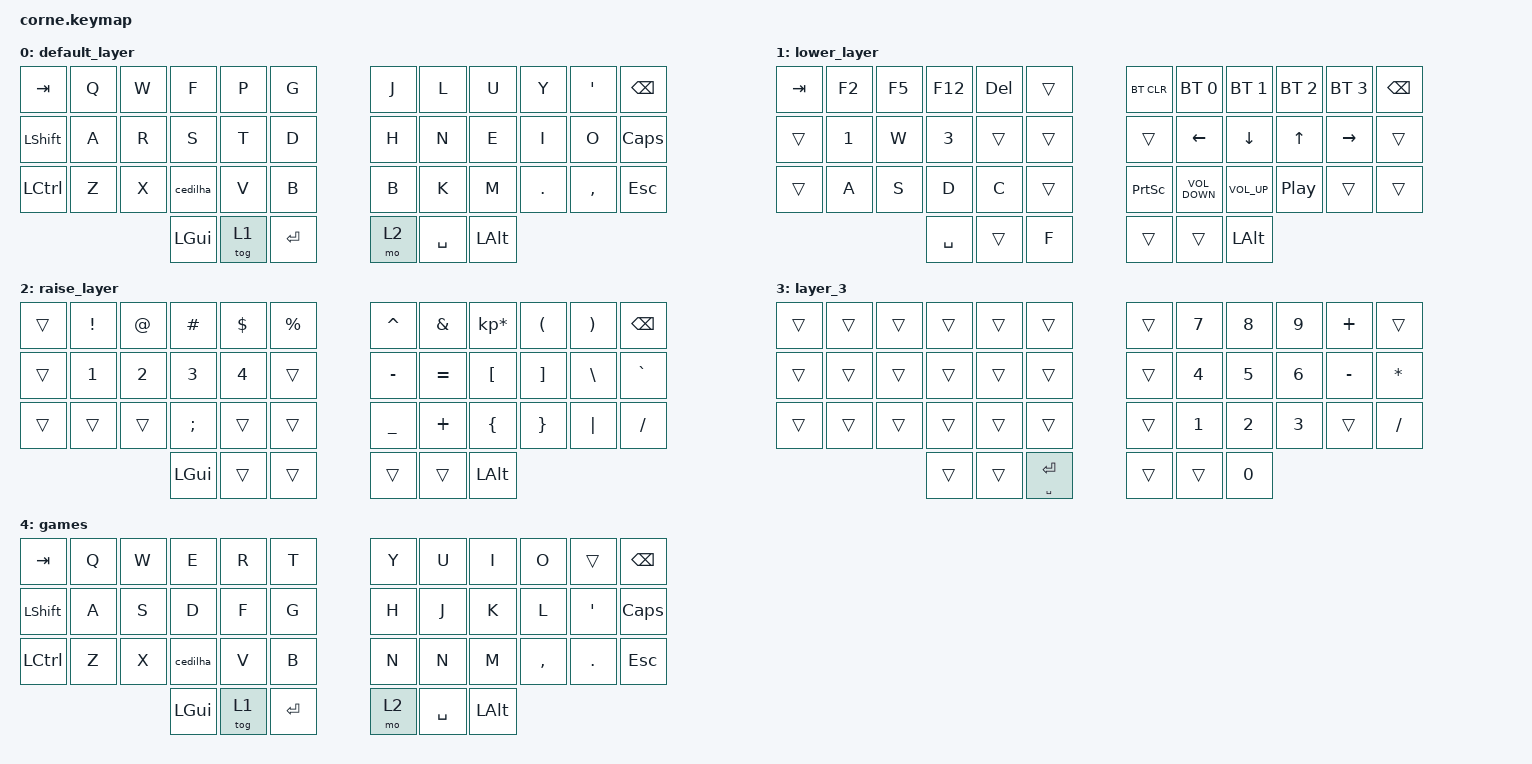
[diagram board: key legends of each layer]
/*
 * Copyright (c) 2020 The ZMK Contributors
 *
 * SPDX-License-Identifier: MIT
 */

#include <behaviors.dtsi>
#include <dt-bindings/zmk/bt.h>
#include <dt-bindings/zmk/keys.h>

&mt {
    tapping-term-ms = <210>;
    flavor = "tap-preferred";
};

/ {
    combos {
        compatible = "zmk,combos";

        accentE {
            bindings = <&macroE>;
            key-positions = <10 20>;
        };

        accentA {
            bindings = <&macroA>;
            key-positions = <13 10>;
        };

        accentI {
            bindings = <&macroI>;
            key-positions = <10 21>;
        };

        accentO {
            bindings = <&macroO>;
            key-positions = <10 22>;
        };

        accentU {
            bindings = <&macroU>;
            key-positions = <10 8>;
        };

        questionmarc {
            bindings = <&question>;
            key-positions = <41 2>;
        };

        slash {
            bindings = <&kp KP_DIVIDE>;
            key-positions = <41 1>;
        };

        greetings {
            bindings = <&greeting>;
            key-positions = <29 30>;
        };

        greetingEvening {
            bindings = <&greetingEvening>;
            key-positions = <29 31>;
        };

        layerThree {
            bindings = <&tog 3>;
            key-positions = <39 37>;
        };

        toggle_layer4 {
            bindings = <&tog 4>;
            key-positions = <35 23>;
        };
    };

    macros {
        macroE: new_macro {
            compatible = "zmk,behavior-macro";
            #binding-cells = <0>;
            bindings = <&kp LEFT_BRACKET &kp E>;
            label = "NEW_MACRO";
        };

        macroA: macroA {
            compatible = "zmk,behavior-macro";
            #binding-cells = <0>;
            bindings = <&kp LEFT_BRACKET &kp A>;
            label = "MACROA";
        };

        macroI: macroI {
            compatible = "zmk,behavior-macro";
            #binding-cells = <0>;
            bindings = <&kp LEFT_BRACKET &kp I>;
            label = "MACROI";
        };

        macroU: macroU {
            compatible = "zmk,behavior-macro";
            #binding-cells = <0>;
            bindings = <&kp LEFT_BRACKET &kp U>;
            label = "MACROU";
        };

        macroO: macroO {
            compatible = "zmk,behavior-macro";
            #binding-cells = <0>;
            bindings = <&kp LEFT_BRACKET &kp O>;
            label = "MACROO";
        };

        question: question {
            compatible = "zmk,behavior-macro";
            #binding-cells = <0>;
            bindings =
                <&macro_press>,
                <&kp RIGHT_ALT>,
                <&macro_tap>,
                <&kp W>,
                <&macro_release>,
                <&kp RIGHT_ALT>;

            label = "QUESTION";
        };

        greeting: greeting {
            compatible = "zmk,behavior-macro";
            #binding-cells = <0>;
            bindings = <&kp LS(B) &kp O &kp M &kp SPACE &kp D &kp I &kp A &kp SPACE &kp M &kp E &kp SPACE &kp C &kp H &kp A &kp M &kp O &kp SPACE &kp LS(P) &kp E &kp D &kp R &kp O>;
            label = "GREETING";
        };

        greetingEvening: greetingEvening {
            compatible = "zmk,behavior-macro";
            #binding-cells = <0>;
            bindings = <&kp LS(B) &kp O &kp A &kp SPACE &kp T &kp A &kp R &kp D &kp E &kp SPACE &kp M &kp E &kp SPACE &kp C &kp H &kp A &kp M &kp O &kp SPACE &kp LS(P) &kp E &kp D &kp R &kp O>;
            label = "GREETINGEVENING";
        };
    };

    behaviors {
        cedilha: cedilha {
            compatible = "zmk,behavior-tap-dance";
            label = "CEDILHA";
            #binding-cells = <0>;
            bindings = <&kp C>, <&kp SEMICOLON>;
        };

        latmov: latmov {
            compatible = "zmk,behavior-tap-dance";
            label = "LATMOV";
            #binding-cells = <0>;
            bindings = <&sl 0>, <&tog 1>;
        };

        latmovred2: latmovred2 {
            compatible = "zmk,behavior-mod-morph";
            label = "LATMOVRED2";
            bindings = <&sl 0>, <&mo 2>;

            #binding-cells = <0>;
            mods = <(MOD_LCTL)>;
        };
    };

    keymap {
        compatible = "zmk,keymap";

        default_layer {
            // -----------------------------------------------------------------------------------------
            // |  TAB |  Q  |  W  |  E  |  R  |  T  |   |  Y  |  U   |  I  |  O  |  P  | BKSP |
            // | CTRL |  A  |  S  |  D  |  F  |  G  |   |  H  |  J   |  K  |  L  |  ;  |  '   |
            // | SHFT |  Z  |  X  |  C  |  V  |  B  |   |  N  |  M   |  ,  |  .  |  /  | ESC  |
            //                    | GUI | LWR | SPC |   | ENT | RSE  | ALT |

            bindings = <
&kp TAB           &kp Q  &kp W  &kp F     &kp P   &kp G      &kp J  &kp L      &kp U         &kp Y    &kp APOS   &kp BSPC
&kp LEFT_SHIFT    &kp A  &kp R  &kp S     &kp T   &kp D      &kp H  &kp N      &kp E         &kp I    &kp O      &kp CAPSLOCK
&kp LEFT_CONTROL  &kp Z  &kp X  &cedilha  &kp V   &kp B      &kp B  &kp K      &kp M         &kp DOT  &kp COMMA  &kp ESC
                                &kp LGUI  &tog 1  &kp RET    &mo 2  &kp SPACE  &kp LEFT_ALT
            >;
        };

        lower_layer {
            // -----------------------------------------------------------------------------------------
            // |  TAB |  1  |  2  |  3  |  4  |  5  |   |  6  |  7  |  8  |  9  |  0  | BKSP |
            // | BTCLR| BT1 | BT2 | BT3 | BT4 | BT5 |   | LFT | DWN |  UP | RGT |     |      |
            // | SHFT |     |     |     |     |     |   |     |     |     |     |     |      |
            //                    | GUI |     | SPC |   | ENT |     | ALT |

            bindings = <
&kp TAB  &kp F2  &kp F5  &kp F12    &kp DEL  &trans    &bt BT_CLR       &bt BT_SEL 0       &bt BT_SEL 1     &bt BT_SEL 2      &bt BT_SEL 3     &kp BSPC
&trans   &kp N1  &kp W   &kp N3     &trans   &trans    &trans           &kp LEFT           &kp DOWN         &kp UP_ARROW      &kp RIGHT_ARROW  &trans
&trans   &kp A   &kp S   &kp D      &kp C    &trans    &kp PRINTSCREEN  &kp C_VOLUME_DOWN  &kp C_VOLUME_UP  &kp C_PLAY_PAUSE  &trans           &trans
                         &kp SPACE  &trans   &kp F     &trans           &trans             &kp LEFT_ALT
            >;
        };

        raise_layer {
            // -----------------------------------------------------------------------------------------
            // |  TAB |  !  |  @  |  #  |  $  |  %  |   |  ^  |  &  |  *  |  (  |  )  | BKSP |
            // | CTRL |     |     |     |     |     |   |  -  |  =  |  [  |  ]  |  \  |  `   |
            // | SHFT |     |     |     |     |     |   |  _  |  +  |  {  |  }  | "|" |  ~   |
            //                    | GUI |     | SPC |   | ENT |     | ALT |

            bindings = <
&trans  &kp EXCL      &kp AT        &kp HASH       &kp DLLR      &kp PRCNT    &kp CARET  &kp AMPS   &kp KP_MULTIPLY  &kp LPAR  &kp RPAR  &kp BSPC
&trans  &kp NUMBER_1  &kp NUMBER_2  &kp NUMBER_3   &kp NUMBER_4  &trans       &kp MINUS  &kp EQUAL  &kp LBKT         &kp RBKT  &kp BSLH  &kp GRAVE
&trans  &trans        &trans        &kp SEMICOLON  &trans        &trans       &kp UNDER  &kp PLUS   &kp LBRC         &kp RBRC  &kp PIPE  &kp SLASH
                                    &kp LGUI       &trans        &trans       &trans     &trans     &kp LEFT_ALT
            >;
        };

        layer_3 {
            bindings = <
&trans  &trans  &trans  &trans  &trans  &trans           &trans  &kp N7  &kp N8  &kp N9  &kp PLUS   &trans
&trans  &trans  &trans  &trans  &trans  &trans           &trans  &kp N4  &kp N5  &kp N6  &kp MINUS  &kp ASTERISK
&trans  &trans  &trans  &trans  &trans  &trans           &trans  &kp N1  &kp N2  &kp N3  &trans     &kp SLASH
                        &trans  &trans  &mt SPACE RET    &trans  &trans  &kp N0
            >;
        };

        games {
            bindings = <
&kp TAB    &kp Q  &kp W  &kp E     &kp R   &kp T      &kp Y  &kp U      &kp I     &kp O      &trans    &kp BACKSPACE
&kp LSHFT  &kp A  &kp S  &kp D     &kp F   &kp G      &kp H  &kp J      &kp K     &kp L      &kp APOS  &kp CAPS
&kp LCTRL  &kp Z  &kp X  &cedilha  &kp V   &kp B      &kp N  &kp N      &kp M     &kp COMMA  &kp DOT   &kp ESC
                         &kp LGUI  &tog 1  &kp RET    &mo 2  &kp SPACE  &kp LALT
            >;
        };
    };

    conditional_layers { compatible = "zmk,conditional-layers"; };
};
